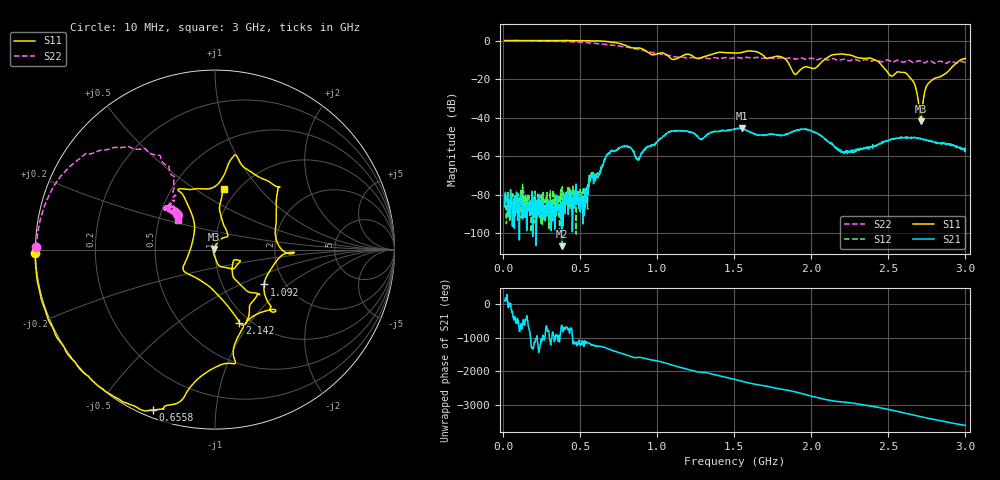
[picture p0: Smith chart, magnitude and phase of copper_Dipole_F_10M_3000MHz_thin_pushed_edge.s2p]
!  08/05/2026  14:42:30
! Ref Plane: 0.000 mm
# MHZ S MA R  50
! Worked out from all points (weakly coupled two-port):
!   1001 points, 10 MHz to 3 GHz, reference 50 ohm
!   highest |S21| = -45.48 dB at 1.55 GHz (marker M1); lowest = -106.6 dB at 380.8 MHz (marker M2)
!   lowest |S11| = -41.9 dB at 2.713 GHz (marker M3), VSWR 1.02, Z = 49.3 + j0.402 ohm
!   |S11| at or under -10 dB: 1.837 GHz to 2.083 GHz (246.2 MHz wide, 12.6 % of centre); 2.411 GHz to 2.969 GHz (558.1 MHz wide, 20.7 % of centre)
!   |S22| runs from -11.8 to 0.0 dB; largest |S21 - S12| = 0.00042
!   S11 on the Smith chart (normalised r, x): 10 MHz: -0.00, -0.01; 655.8 MHz: 0.03, -0.68; 1.092 GHz: 1.57, -0.69; 2.142 GHz: 0.89, -0.89; 3 GHz: 0.87, +0.67
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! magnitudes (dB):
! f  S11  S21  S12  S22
! 10 MHz  0.0  -86.1  -86.6  0.0
! 380.8 MHz  0.0  -106.6  -78.5  -0.4
! 509.3 MHz  0.0  -80.1  -79.1  -0.9
! 655.8 MHz  -0.4  -62.4  -62.8  -1.9
! 787.4 MHz  -2.2  -54.9  -54.6  -3.3
! 874.1 MHz  -3.8  -61.3  -61.8  -4.4
! 1.009 GHz  -6.6  -51.6  -51.4  -6.8
! 1.092 GHz  -9.5  -46.9  -46.7  -7.9
! 1.29 GHz  -8.7  -51.2  -51.1  -9.1
! 1.505 GHz  -6.5  -45.8  -46.1  -8.7
! 1.55 GHz  -6.2  -45.5  -45.6  -9.1
! 1.81 GHz  -8.6  -49.3  -49.1  -9.1
! 1.897 GHz  -17.6  -46.7  -46.7  -9.6
! 2.004 GHz  -14.4  -46.9  -47.1  -9.1
! 2.142 GHz  -7.3  -54.3  -54.3  -9.3
! 2.208 GHz  -7.0  -57.8  -57.9  -9.7
! 2.393 GHz  -9.4  -55.3  -54.8  -10.7
! 2.504 GHz  -17.4  -51.6  -51.8  -10.3
! 2.644 GHz  -19.6  -50.5  -50.6  -10.6
! 2.713 GHz  -41.9  -51.0  -50.9  -10.9
! 2.764 GHz  -21.9  -52.1  -52.0  -10.4
! 3 GHz  -9.3  -56.4  -56.8  -11.6
